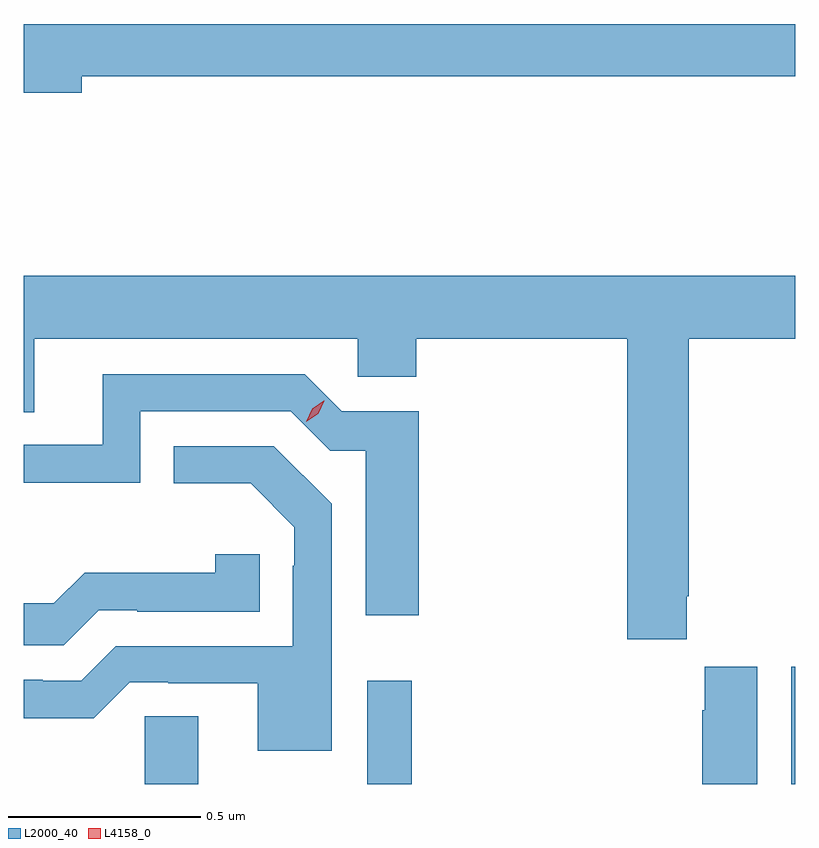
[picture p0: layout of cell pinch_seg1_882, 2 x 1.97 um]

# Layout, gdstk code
import gdstk
lib = gdstk.Library(unit=1e-6, precision=1e-09)
def R(c, l, rs):  # rectangles x0, y0, x1, y1
    for r in rs: c.add(gdstk.rectangle(r[:2], r[2:], *l))
def P(c, l, *ps):  # polygons
    for p in ps: c.add(gdstk.Polygon(p, *l))
L2000_40 = (2000, 40)
L4158_0 = (4158, 0)

pinch_seg1_882 = lib.new_cell('pinch_seg1_882')
R(pinch_seg1_882, L2000_40, [(434.508,531.93,434.647,532.106), (435.084,531.93,435.2,532.198), (436.184,531.93,436.194,532.234)])
P(pinch_seg1_882, L2000_40, [(434.344,533.764),(436.194,533.764),(436.194,533.9),(434.194,533.9),(434.194,533.722),(434.344,533.722)],
  [(435.913,532.417),(435.918,532.417),(435.918,533.084),(436.194,533.084),(436.194,533.248),(434.194,533.248),(434.194,532.894),(434.221,532.894),(434.221,533.084),(435.06,533.084),(435.06,532.986),(435.212,532.986),(435.212,533.084),(435.758,533.084),(435.758,532.305),(435.913,532.305)],
  [(435.218,532.896),(435.018,532.896),(434.922,532.992),(434.399,532.992),(434.399,532.809),(434.194,532.809),(434.194,532.711),(434.496,532.711),(434.496,532.896),(434.886,532.896),(434.988,532.794),(435.08,532.794),(435.08,532.368),(435.218,532.368)],
  [(434.992,532.656),(434.842,532.806),(434.583,532.806),(434.583,532.709),(434.783,532.709),(434.895,532.596),(434.895,532.496),(434.891,532.496),(434.891,532.287),(434.433,532.287),(434.343,532.197),(434.243,532.197),(434.243,532.2),(434.194,532.2),(434.194,532.1),(434.375,532.1),(434.469,532.194),(434.569,532.194),(434.569,532.191),(434.801,532.191),(434.801,532.016),(434.992,532.016)],
  [(434.388,532.38),(434.488,532.38),(434.488,532.377),(434.806,532.377),(434.806,532.525),(434.69,532.525),(434.69,532.478),(434.352,532.478),(434.272,532.398),(434.194,532.398),(434.194,532.29),(434.298,532.29)],
  [(436.096,532.234),(435.959,532.234),(435.959,532.121),(435.953,532.121),(435.953,531.93),(436.096,531.93)])
P(pinch_seg1_882, L4158_0, [(434.927,532.869),(434.927,532.869),(434.942,532.903),(434.972,532.924),(434.973,532.924),(434.973,532.924),(434.957,532.89),(434.927,532.869)])

lib.write_gds('pinch_seg1_882.gds')
